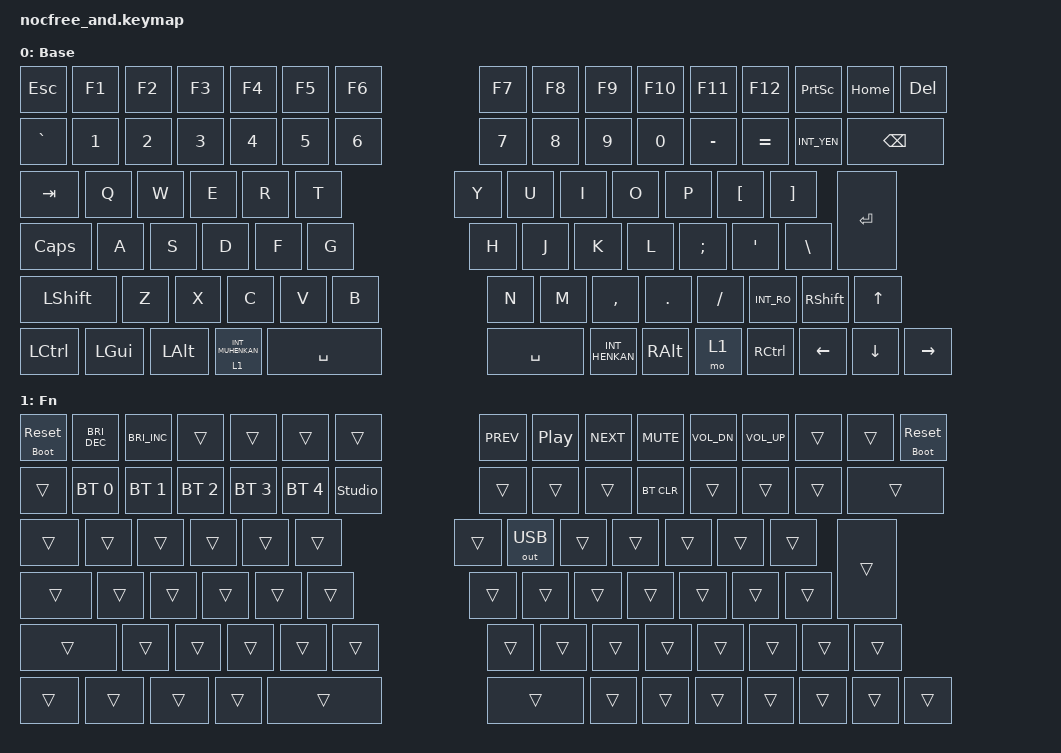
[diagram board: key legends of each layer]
/*
 * SPDX-License-Identifier: MIT
 */

#undef ZMK_BEHAVIORS_KEEP_ALL

#include <behaviors.dtsi>
#include <dt-bindings/zmk/bt.h>
#include <dt-bindings/zmk/keys.h>
#include <dt-bindings/zmk/outputs.h>

/ {
    /*
     * Fn + Esc:
     *   tap       = restart the left half normally
     *   hold 1.5s = enter the left-half UF2 bootloader
     *
     * Hold-tap always receives two parameters. Both child behaviors take no
     * parameters, so the key binding passes two dummy zero values.
     */

    behaviors {
        bootloader_hold: bootloader_hold {
            compatible = "zmk,behavior-hold-tap";
            label = "BOOTLOADER_HOLD";
            bindings = <&bootloader>, <&sys_reset>;

            #binding-cells = <2>;
            tapping-term-ms = <1500>;
            flavor = "tap-preferred";
        };
    };

    keymap {
        compatible = "zmk,keymap";

        /*
         * Windows Japanese (JIS) oriented base layer.
         * INT_YEN/INT_RO are JIS punctuation keys.
         * INT_HENKAN/INT_MUHENKAN are Henkan/Muhenkan.
         * LGUI is the Windows key and LALT/RALT are Alt keys on Windows.
         */

        default_layer {
            display-name = "Base";
            bindings = <
&kp ESC    &kp F1          &kp F2     &kp F3              &kp F4     &kp F5      &kp F6
&kp F7     &kp F8          &kp F9     &kp F10             &kp F11    &kp F12     &kp PSCRN    &kp HOME
&kp GRAVE  &kp N1          &kp N2     &kp N3              &kp N4     &kp N5      &kp N6
&kp N7     &kp N8          &kp N9     &kp N0              &kp MINUS  &kp EQUAL   &kp INT_YEN  &kp BSPC
&kp TAB    &kp Q           &kp W      &kp E               &kp R      &kp T
&kp Y      &kp U           &kp I      &kp O               &kp P      &kp LBKT    &kp RBKT     &kp DEL
&kp CAPS   &kp A           &kp S      &kp D               &kp F      &kp G
&kp H      &kp J           &kp K      &kp L               &kp SEMI   &kp SQT     &kp BSLH     &kp RET
&kp LSHFT  &kp Z           &kp X      &kp C               &kp V      &kp B
&kp N      &kp M           &kp COMMA  &kp DOT             &kp FSLH   &kp INT_RO  &kp RSHFT    &kp UP
&kp LCTRL  &kp LGUI        &kp LALT   &lt 1 INT_MUHENKAN  &kp SPACE
&kp SPACE  &kp INT_HENKAN  &kp RALT   &mo 1               &kp RCTRL  &kp LEFT    &kp DOWN     &kp RIGHT
            >;
        };

        /*
         * Fn layer:
         *   Fn+Esc     = tap restart / hold 1.5s left bootloader
         *   Fn+F10/F11/F12 = mute / volume down / volume up
         *   Fn+1..5    = select Bluetooth profiles 0..4
         *   Fn+0       = clear the selected Bluetooth pairing
         *   Fn+U       = prefer USB output
         *   Fn+Delete  = enter the right-half bootloader
         *
         * &trans inherits the binding from the Base layer.
         */

        function_layer {
            display-name = "Fn";
            bindings = <
&bootloader_hold 0 0  &kp C_BRIGHTNESS_DEC  &kp C_BRIGHTNESS_INC  &trans        &trans        &trans        &trans
&kp C_PREV            &kp C_PP              &kp C_NEXT            &kp C_MUTE    &kp C_VOL_DN  &kp C_VOL_UP  &trans          &trans
&trans                &bt BT_SEL 0          &bt BT_SEL 1          &bt BT_SEL 2  &bt BT_SEL 3  &bt BT_SEL 4  &studio_unlock
&trans                &trans                &trans                &bt BT_CLR    &trans        &trans        &trans          &trans
&trans                &trans                &trans                &trans        &trans        &trans
&trans                &out OUT_USB          &trans                &trans        &trans        &trans        &trans          &bootloader_hold 0 0
&trans                &trans                &trans                &trans        &trans        &trans
&trans                &trans                &trans                &trans        &trans        &trans        &trans          &trans
&trans                &trans                &trans                &trans        &trans        &trans
&trans                &trans                &trans                &trans        &trans        &trans        &trans          &trans
&trans                &trans                &trans                &trans        &trans
&trans                &trans                &trans                &trans        &trans        &trans        &trans          &trans
            >;
        };

        layer_2 {
            status = "reserved";
        };
    };
};
